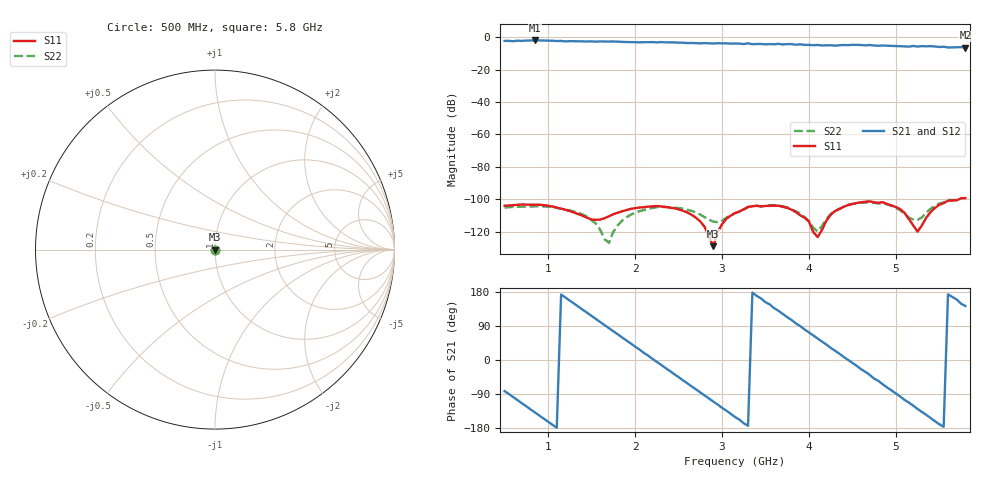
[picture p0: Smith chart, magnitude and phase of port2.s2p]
# GHZ S RI R 50
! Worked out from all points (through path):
!   107 points, 500 MHz to 5.8 GHz, reference 50 ohm
!   highest |S21| = -1.94 dB at 850 MHz (marker M1); lowest = -6.3 dB at 5.8 GHz (marker M2)
!   group delay of S21, straight-line fit = 448 ps
!   lowest |S11| = -129.0 dB at 2.9 GHz (marker M3), VSWR 1.00, Z = 50 - j9.72e-06 ohm
!   |S11| at or under -10 dB: start of sweep to end of sweep
!   |S22| runs from -126.9 to -99.3 dB; largest |S21 - S12| = 0.0099
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0.5  5.3e-06 -3.4e-06  0.1076 -0.7676  0.108 -0.7671  5.43e-06 -1.17e-06
0.65  3.26e-06 -5.89e-06  -0.2186 -0.7588  -0.2178 -0.7587  5.07e-06 -2.94e-06
0.85  -8.18e-07 -6.75e-06  -0.5992 -0.5305  -0.5983 -0.5308  3.33e-06 -5.03e-06
1.15  -3.98e-06 -3.21e-06  -0.7687 0.0975  -0.7688 0.0978  -5.34e-07 -5.06e-06
1.4  -2.86e-06 -1.1e-06  -0.506 0.5531  -0.5063 0.5541  -2.31e-06 -2.46e-06
1.6  -1.69e-06 -1.65e-06  -0.1321 0.7352  -0.134 0.7348  -9.67e-07 -5.8e-07
1.8  -2.5e-06 -2.91e-06  0.2755 0.6815  0.2762 0.6799  1.23e-06 -9.53e-07
2.1  -5.39e-06 -1.77e-06  0.668 0.231  0.6675 0.2307  8.58e-07 -4.54e-06
2.3  -5.94e-06 9.08e-07  0.6963 -0.157  0.6965 -0.1539  -2.12e-06 -5.39e-06
2.65  -1.69e-06 2.87e-06  0.2353 -0.6272  0.2393 -0.6261  -4.2e-06 -1.19e-06
2.9  -3.42e-07 -9.72e-08  -0.2168 -0.6054  -0.2156 -0.6062  -1.92e-06 -6.75e-07
3.15  -3.06e-06 -2.12e-06  -0.5613 -0.3175  -0.561 -0.3218  -2.24e-06 -3e-06
3.3  -5.77e-06 -6.14e-07  -0.6492 -0.0723  -0.6506 -0.0672  -4.81e-06 -3.09e-06
3.65  -4.09e-06 4.79e-06  -0.4038 0.4825  -0.3997 0.4879  -6.04e-06 2.11e-06
3.9  -1.68e-07 3.2e-06  0.0059 0.6089  0.0078 0.6078  -2.07e-06 3e-06
4.05  -2.57e-07 9.39e-07  0.2426 0.5168  0.2436 0.5161  -9.98e-07 8.56e-07
4.25  -3.25e-06 -5.05e-07  0.4825 0.3035  0.4832 0.3048  -3.03e-06 -1.76e-06
4.5  -6.55e-06 2.95e-06  0.5815 -0.0769  0.584 -0.0799  -7.12e-06 -9.72e-08
4.95  1.6e-06 6.28e-06  0.0927 -0.5373  0.0933 -0.5376  -2.65e-06 5.62e-06
5.2  1.56e-06 6.36e-10  -0.2758 -0.4674  -0.2783 -0.4647  -1.6e-06 1.76e-06
5.4  -3.92e-06 -8.99e-07  -0.4764 -0.2414  -0.4767 -0.2439  -5.06e-06 6.57e-07
5.8  -4.61e-06 9.86e-06  -0.3823 0.2946  -0.3761 0.2994  -5.38e-06 9.33e-06
